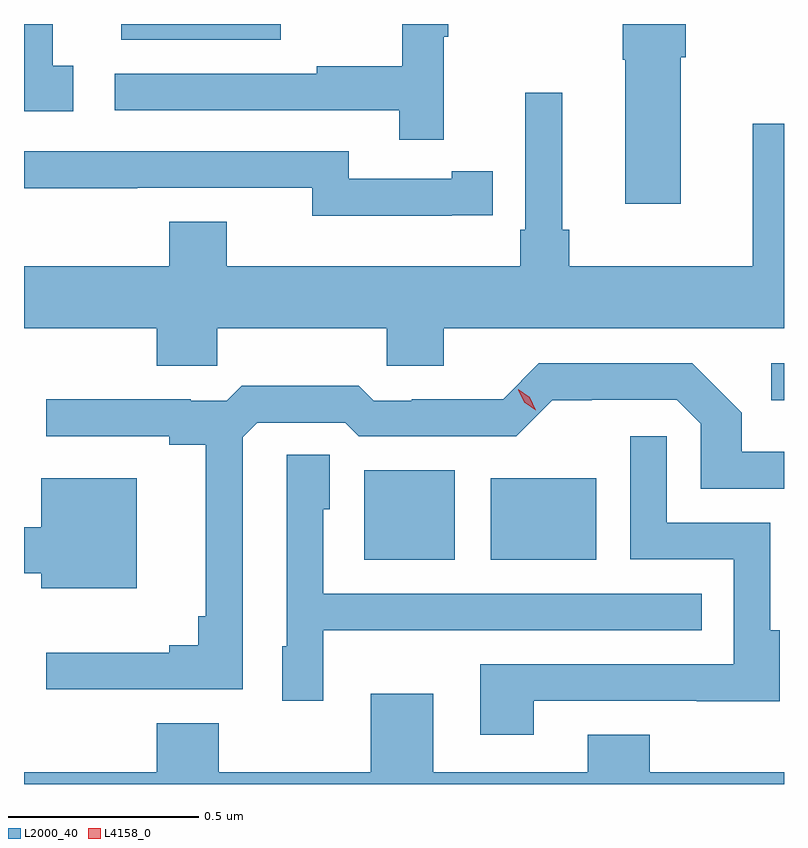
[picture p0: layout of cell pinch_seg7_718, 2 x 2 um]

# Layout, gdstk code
import gdstk
lib = gdstk.Library(unit=1e-6, precision=1e-09)
def R(c, l, rs):  # rectangles x0, y0, x1, y1
    for r in rs: c.add(gdstk.rectangle(r[:2], r[2:], *l))
def P(c, l, *ps):  # polygons
    for p in ps: c.add(gdstk.Polygon(p, *l))
L2000_40 = (2000, 40)
L4158_0 = (4158, 0)

pinch_seg7_718 = lib.new_cell('pinch_seg7_718')
R(pinch_seg7_718, L2000_40, [(211.937,1033.307,212.176,1033.543), (212.27,1033.307,212.548,1033.522), (213.009,1033.727,213.042,1033.824), (211.298,1034.675,211.717,1034.717)])
P(pinch_seg7_718, L2000_40, [(211.171,1034.607),(211.118,1034.607),(211.118,1034.717),(211.042,1034.717),(211.042,1034.487),(211.171,1034.487)],
  [(212.77,1034.629),(212.783,1034.629),(212.783,1034.717),(212.617,1034.717),(212.617,1034.623),(212.624,1034.623),(212.624,1034.244),(212.77,1034.244)],
  [(212.147,1034.683),(212.158,1034.683),(212.158,1034.717),(212.037,1034.717),(212.037,1034.606),(211.813,1034.606),(211.813,1034.586),(211.281,1034.586),(211.281,1034.49),(212.029,1034.49),(212.029,1034.412),(212.147,1034.412)],
  [(211.551,1033.916),(211.996,1033.916),(211.996,1033.818),(212.146,1033.818),(212.146,1033.916),(213.042,1033.916),(213.042,1034.455),(212.96,1034.455),(212.96,1034.08),(212.477,1034.08),(212.477,1034.176),(212.458,1034.176),(212.458,1034.536),(212.361,1034.536),(212.361,1034.176),(212.348,1034.176),(212.348,1034.08),(211.576,1034.08),(211.576,1034.197),(211.424,1034.197),(211.424,1034.08),(211.042,1034.08),(211.042,1033.916),(211.391,1033.916),(211.391,1033.818),(211.551,1033.818)],
  [(212.168,1034.214),(212.276,1034.214),(212.276,1034.33),(212.168,1034.33),(212.168,1034.31),(211.896,1034.31),(211.896,1034.382),(211.042,1034.382),(211.042,1034.285),(211.34,1034.285),(211.34,1034.286),(211.8,1034.286),(211.8,1034.213),(212.168,1034.213)],
  [(211.617,1033.629),(211.656,1033.668),(211.887,1033.668),(211.923,1033.632),(212.337,1033.632),(212.432,1033.727),(212.536,1033.727),(212.536,1033.728),(212.76,1033.728),(212.823,1033.665),(212.823,1033.494),(213.042,1033.494),(213.042,1033.591),(212.931,1033.591),(212.931,1033.694),(212.8,1033.824),(212.397,1033.824),(212.303,1033.73),(212.062,1033.73),(212.062,1033.725),(211.962,1033.725),(211.923,1033.765),(211.615,1033.765),(211.575,1033.725),(211.481,1033.725),(211.481,1033.73),(211.101,1033.73),(211.101,1033.632),(211.424,1033.632),(211.424,1033.61),(211.52,1033.61),(211.52,1033.159),(211.501,1033.159),(211.501,1033.082),(211.424,1033.082),(211.424,1033.063),(211.101,1033.063),(211.101,1032.966),(211.617,1032.966)],
  [(212.383,1032.936),(212.813,1032.936),(212.813,1032.935),(213.031,1032.935),(213.031,1033.122),(213.006,1033.122),(213.006,1033.404),(212.733,1033.404),(212.733,1033.632),(212.637,1033.632),(212.637,1033.308),(212.91,1033.308),(212.91,1033.032),(212.243,1033.032),(212.243,1032.846),(212.383,1032.846)],
  [(211.83,1033.121),(212.147,1033.121),(212.147,1033.122),(212.825,1033.122),(212.825,1033.218),(211.83,1033.218),(211.83,1033.44),(211.846,1033.44),(211.846,1033.583),(211.734,1033.583),(211.734,1033.08),(211.721,1033.08),(211.721,1032.936),(211.83,1032.936)],
  [(211.339,1033.522),(211.088,1033.522),(211.088,1033.393),(211.042,1033.393),(211.042,1033.271),(211.088,1033.271),(211.088,1033.232),(211.339,1033.232)],
  [(213.042,1032.748),(212.689,1032.748),(212.689,1032.847),(212.525,1032.847),(212.525,1032.748),(212.119,1032.748),(212.119,1032.955),(211.955,1032.955),(211.955,1032.748),(211.555,1032.748),(211.555,1032.877),(211.391,1032.877),(211.391,1032.748),(211.042,1032.748),(211.042,1032.717),(213.042,1032.717)])
P(pinch_seg7_718, L4158_0, [(212.389,1033.701),(212.358,1033.722),(212.342,1033.755),(212.342,1033.756),(212.342,1033.756),(212.373,1033.735),(212.389,1033.701),(212.389,1033.701)])

lib.write_gds('pinch_seg7_718.gds')
